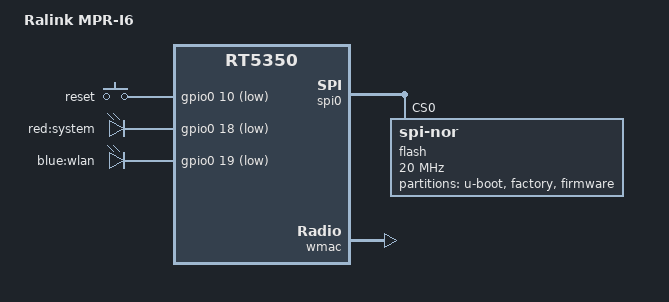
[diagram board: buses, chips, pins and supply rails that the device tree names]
// SPDX-License-Identifier: GPL-2.0-or-later OR MIT

#include "rt5350.dtsi"

#include <dt-bindings/gpio/gpio.h>
#include <dt-bindings/input/input.h>

/ {
	compatible = "ralink,mpr-i6", "ralink,rt5350-soc";
	model = "Ralink MPR-I6";

	aliases {
		led-boot = &led_system;
		led-failsafe = &led_system;
		led-running = &led_system;
		led-upgrade = &led_system;
	};

	keys {
		compatible = "gpio-keys";

		reset {
			label = "reset";
			gpios = <&gpio0 10 GPIO_ACTIVE_LOW>;
			linux,code = <KEY_RESTART>;
		};
	};

	leds {
		compatible = "gpio-leds";

		led_system: system {
			label = "red:system";
			gpios = <&gpio0 18 GPIO_ACTIVE_LOW>;
		};

		wlan {
			label = "blue:wlan";
			gpios = <&gpio0 19 GPIO_ACTIVE_LOW>;
			linux,default-trigger = "phy0tpt";
		};
	};
};

&state_default {
	gpio {
		groups = "jtag", "uartf";
		function = "gpio";
	};
};

&spi0 {
	status = "okay";

	flash@0 {
		compatible = "jedec,spi-nor";
		reg = <0>;
		spi-max-frequency = <20000000>;

		partitions {
			compatible = "fixed-partitions";
			#address-cells = <1>;
			#size-cells = <1>;

			partition@0 {
				label = "u-boot";
				reg = <0x0 0x20000>;
				read-only;
			};

			factory: partition@20000 {
				label = "factory";
				reg = <0x20000 0x10000>;
				read-only;
			};

			partition@30000 {
				compatible = "denx,uimage";
				label = "firmware";
				reg = <0x30000 0x7d0000>;
			};
		};
	};
};

&ethernet {
	mtd-mac-address = <&factory 0x28>;
};

&esw {
	mediatek,portmap = <0x3e>;
	mediatek,portdisable = <0x2f>;
};

&wmac {
	ralink,mtd-eeprom = <&factory 0x0>;
};
